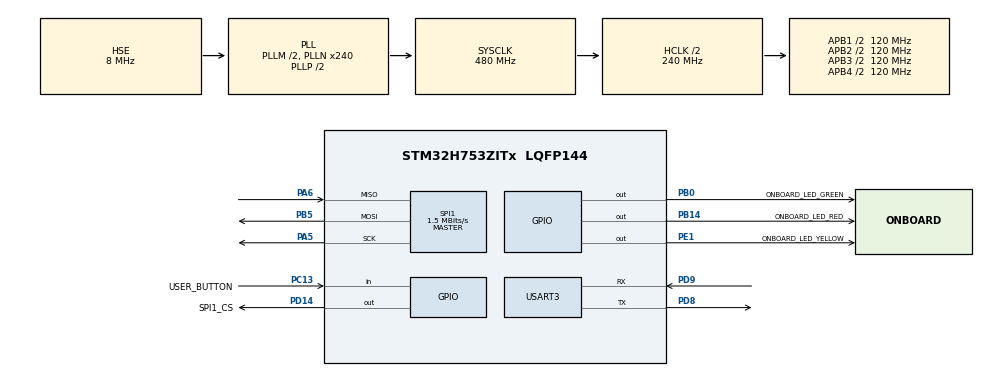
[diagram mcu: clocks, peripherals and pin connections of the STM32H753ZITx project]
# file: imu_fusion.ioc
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CORTEX_M7.default_mode_Activation=1
Mcu.Family=STM32H7
Mcu.Name=STM32H753ZITx
Mcu.Package=LQFP144
NVIC.PriorityGroup=NVIC_PRIORITYGROUP_4
NVIC.TIM6_DAC_IRQn=true\:0\:0\:false\:false\:true\:true\:true\:true
PA5.Mode=Full_Duplex_Master
PA5.Signal=SPI1_SCK
PA6.Mode=Full_Duplex_Master
PA6.Signal=SPI1_MISO
PB0.GPIO_Label=ONBOARD_LED_GREEN
PB0.Signal=GPIO_Output
PB14.GPIO_Label=ONBOARD_LED_RED
PB14.Signal=GPIO_Output
PB5.Mode=Full_Duplex_Master
PB5.Signal=SPI1_MOSI
PC13.GPIO_Label=USER_BUTTON
PC13.Signal=GPIO_Input
PD14.GPIO_Label=SPI1_CS
PD14.Signal=GPIO_Output
PD8.Mode=Asynchronous
PD8.Signal=USART3_TX
PD9.Mode=Asynchronous
PD9.Signal=USART3_RX
PE1.GPIO_Label=ONBOARD_LED_YELLOW
PE1.Signal=GPIO_Output
PH0-OSC_IN\ (PH0).Mode=HSE-External-Oscillator
PH0-OSC_IN\ (PH0).Signal=RCC_OSC_IN
PH1-OSC_OUT\ (PH1).Mode=HSE-External-Oscillator
PH1-OSC_OUT\ (PH1).Signal=RCC_OSC_OUT
ProjectManager.HeapSize=0x200
ProjectManager.StackSize=0x400
ProjectManager.TargetToolchain=CMake
RCC.ADCFreq_Value=16125000
RCC.APB1Freq_Value=120000000
RCC.APB2Freq_Value=120000000
RCC.APB3Freq_Value=120000000
RCC.APB4Freq_Value=120000000
RCC.CortexFreq_Value=480000000
RCC.D1PPRE=RCC_APB3_DIV2
RCC.D2PPRE1=RCC_APB1_DIV2
RCC.D2PPRE2=RCC_APB2_DIV2
RCC.D3PPRE=RCC_APB4_DIV2
RCC.DIVM1=2
RCC.DIVN1=240
RCC.DIVQ1=5
RCC.HCLKFreq_Value=240000000
RCC.HPRE=RCC_HCLK_DIV2
RCC.HSE_VALUE=8000000
RCC.PLLFRACN=0
RCC.PLLSourceVirtual=RCC_PLLSOURCE_HSE
RCC.SYSCLKFreq_VALUE=480000000
RCC.SYSCLKSource=RCC_SYSCLKSOURCE_PLLCLK
RCC.USBFreq_Value=192000000
SPI1.BaudRatePrescaler=SPI_BAUDRATEPRESCALER_128
SPI1.CalculateBaudRate=1.5 MBits/s
SPI1.DataSize=SPI_DATASIZE_8BIT
SPI1.Direction=SPI_DIRECTION_2LINES
SPI1.Mode=SPI_MODE_MASTER
SPI1.VirtualType=VM_MASTER
TIM6.Period=479
TIM6.Prescaler=1199
USART3.VirtualMode-Asynchronous=VM_ASYNC
VP_MEMORYMAP_VS_MEMORYMAP.Mode=CurAppReg
VP_TIM6_VS_ClockSourceINT.Mode=Enable_Timer
board=custom

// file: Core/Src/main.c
/* USER CODE BEGIN Header */
/**
  ******************************************************************************
  * @file           : main.c
  * @brief          : Main program body
  ******************************************************************************
  * @attention
  *
  * Copyright (c) 2025 STMicroelectronics.
  * All rights reserved.
  *
  * This software is licensed under terms that can be found in the LICENSE file
  * in the root directory of this software component.
  * If no LICENSE file comes with this software, it is provided AS-IS.
  *
  ******************************************************************************
  */
/* USER CODE END Header */
#include "main.h"

/* USER CODE BEGIN Includes */
#include <stdbool.h>
#include <stdint.h>
#include <stdio.h>
#include <string.h>
#include <math.h>
#include "lsm6dsox.h"
#include "stm32h7_spi_dev.h"
#include "cfilter.h"
/* USER CODE END Includes */

/* USER CODE BEGIN PD */
#define SAMPLE_COUNT 6000

/*
With 240 MHz timer clock and 479 period:

Prescaler | Timer Frequency | Sample Period |
---------------------------------------------
   149    |     3.333 kHz   |    300 µs     |
   299    |     1.666 kHz   |    600 µs     |
   599    |     833 Hz      |    1.2 ms     |
  1199    |     416 Hz      |    2.4 ms     |
  2399    |     208 Hz      |    4.8 ms     |
  4799    |     104 Hz      |    9.6 ms     |

*/
#define DT_IMU  0.0024  // IMU sample period in seconds
// #define DT_IMU  0.0003f  // IMU sample period in seconds (300 µs - 3.333 kHz)
/* USER CODE END PD */

SPI_HandleTypeDef hspi1;

TIM_HandleTypeDef htim6;

UART_HandleTypeDef huart3;

/* USER CODE BEGIN PV */
volatile bool imu_data_ready = false;

uint32_t loop_cycles = 0; // Count CPU cycles in main loop

stm32_spi_handle_t spi_handle;
lsm6dsox_dev_t dev;
lsm6dsox_data_t lsm6dsox_data;

// // Filtered attitude
// float quat[4] = {1.0f, 0.0f, 0.0f, 0.0f}; // Initial quaternion
// float rpy[3];

// Complementary filter structs
cfilter_arg_t cfilter_arg;
cfilter_res_t cfilter_res;
cfilter_work_t cfilter_w;
/* USER CODE END PV */

void SystemClock_Config(void);
static void MPU_Config(void);
static void MX_GPIO_Init(void);
static void MX_USART3_UART_Init(void);
static void MX_TIM6_Init(void);
static void MX_SPI1_Init(void);

int main(void)
{

  /* MPU Configuration--------------------------------------------------------*/
  MPU_Config();

  /* MCU Configuration--------------------------------------------------------*/

  /* Reset of all peripherals, Initializes the Flash interface and the Systick. */
  HAL_Init();

  /* Configure the system clock */
  SystemClock_Config();

  /* Initialize all configured peripherals */
  MX_GPIO_Init();
  MX_USART3_UART_Init();
  MX_TIM6_Init();
  MX_SPI1_Init();
  /* USER CODE BEGIN 2 */

  printf("\r\n");
  printf("========================================\r\n");
  printf("LSM6DSOX SPI Test - STM32H7\r\n");
  printf("========================================\r\n\r\n");

  // Configure SPI handle
  spi_handle.hspi = &hspi1;
  spi_handle.cs_port = SPI1_CS_GPIO_Port;
  spi_handle.cs_pin = SPI1_CS_Pin;

  stm32_spi_init(&spi_handle);

  // Configure IMU
  dev.handle = &spi_handle;
  dev.read = stm32_spi_read;
  dev.write = stm32_spi_write;
  dev.accel_odr = LSM6DSOX_RATE_416_HZ;
  dev.accel_range = LSM6DSOX_ACCEL_RANGE_8_G;
  dev.gyro_odr = LSM6DSOX_RATE_416_HZ;
  dev.gyro_range = LSM6DSOX_GYRO_RANGE_2000_DPS;

  int ret = lsm6dsox_init(&dev);

  // Initialize filter
  cfilter_init(&cfilter_arg, &cfilter_res, &cfilter_w);
  cfilter_arg.dt = DT_IMU;
  cfilter_arg.alpha = 0.98f;

  // Check gyro configuration
  uint8_t ctrl2;
  dev.read(dev.handle, LSM6DSOX_CTRL2_G, &ctrl2, 1);

  if (ret != 0)
  {
      printf("ERROR: LSM6DSOX initialization failed (%d)\r\n", ret);
      while (1);
  }
  else
  {
      printf("LSM6DSOX initialized successfully\r\n");
  }

  // Enable DWT cycle counter for profiling
  CoreDebug->DEMCR |= CoreDebug_DEMCR_TRCENA_Msk;
  DWT->CYCCNT = 0;
  DWT->CTRL |= DWT_CTRL_CYCCNTENA_Msk;

  // Start timer 6 for sampling
  if (HAL_TIM_Base_Start_IT(&htim6) != HAL_OK)
      Error_Handler();

  /* USER CODE END 2 */

  /* Infinite loop */
  /* USER CODE BEGIN WHILE */
  uint32_t sample_idx = 0;
  calibrate_imu(&dev, &lsm6dsox_data, 200);
  printf("Starting IMU filter test...\r\n");
  HAL_GPIO_WritePin(ONBOARD_LED_GREEN_GPIO_Port, ONBOARD_LED_GREEN_Pin, GPIO_PIN_SET);
  while (1)
  {
    // if (sample_idx >= SAMPLE_COUNT)
    //     break;
    /* USER CODE END WHILE */

    /* USER CODE BEGIN 3 */

    if (imu_data_ready) {
      // The read should go in the callback, but for timing demo this pulls
      // it out of the timed code
      lsm6dsox_read(&dev, &lsm6dsox_data);
      uint32_t start_cycles = DWT->CYCCNT; // Start cycle counter

      imu_callback();

      uint32_t end_cycles = DWT->CYCCNT;          // End cycle counter
      loop_cycles += (end_cycles - start_cycles); // Count cycles
      sample_idx++;

      if (sample_idx % 4 == 0){
        printf("Roll: %d  Pitch: %d  Yaw: %d\r\n",
                (int)(1000 * cfilter_res.att_fused.rpy[0]*57.3f),
                (int)(1000 * cfilter_res.att_fused.rpy[1]*57.3f),
                (int)(1000 * cfilter_res.att_fused.rpy[2]*57.3f));
      }
    }

  }

  printf("Average loop time: %d µs\r\n",
          (int)((loop_cycles / (float)sample_idx) / (SystemCoreClock / 1000000.0f)));

  HAL_GPIO_WritePin(ONBOARD_LED_GREEN_GPIO_Port, ONBOARD_LED_GREEN_Pin, GPIO_PIN_RESET);
  /* USER CODE END 3 */
}

void SystemClock_Config(void)
{
  RCC_OscInitTypeDef RCC_OscInitStruct = {0};
  RCC_ClkInitTypeDef RCC_ClkInitStruct = {0};

  /** Supply configuration update enable
  */
  HAL_PWREx_ConfigSupply(PWR_LDO_SUPPLY);

  /** Configure the main internal regulator output voltage
  */
  __HAL_PWR_VOLTAGESCALING_CONFIG(PWR_REGULATOR_VOLTAGE_SCALE0);

  while(!__HAL_PWR_GET_FLAG(PWR_FLAG_VOSRDY)) {}

  /** Initializes the RCC Oscillators according to the specified parameters
  * in the RCC_OscInitTypeDef structure.
  */
  RCC_OscInitStruct.OscillatorType = RCC_OSCILLATORTYPE_HSE;
  RCC_OscInitStruct.HSEState = RCC_HSE_ON;
  RCC_OscInitStruct.PLL.PLLState = RCC_PLL_ON;
  RCC_OscInitStruct.PLL.PLLSource = RCC_PLLSOURCE_HSE;
  RCC_OscInitStruct.PLL.PLLM = 2;
  RCC_OscInitStruct.PLL.PLLN = 240;
  RCC_OscInitStruct.PLL.PLLP = 2;
  RCC_OscInitStruct.PLL.PLLQ = 5;
  RCC_OscInitStruct.PLL.PLLR = 2;
  RCC_OscInitStruct.PLL.PLLRGE = RCC_PLL1VCIRANGE_2;
  RCC_OscInitStruct.PLL.PLLVCOSEL = RCC_PLL1VCOWIDE;
  RCC_OscInitStruct.PLL.PLLFRACN = 0;
  if (HAL_RCC_OscConfig(&RCC_OscInitStruct) != HAL_OK)
  {
    Error_Handler();
  }

  /** Initializes the CPU, AHB and APB buses clocks
  */
  RCC_ClkInitStruct.ClockType = RCC_CLOCKTYPE_HCLK|RCC_CLOCKTYPE_SYSCLK
                              |RCC_CLOCKTYPE_PCLK1|RCC_CLOCKTYPE_PCLK2
                              |RCC_CLOCKTYPE_D3PCLK1|RCC_CLOCKTYPE_D1PCLK1;
  RCC_ClkInitStruct.SYSCLKSource = RCC_SYSCLKSOURCE_PLLCLK;
  RCC_ClkInitStruct.SYSCLKDivider = RCC_SYSCLK_DIV1;
  RCC_ClkInitStruct.AHBCLKDivider = RCC_HCLK_DIV2;
  RCC_ClkInitStruct.APB3CLKDivider = RCC_APB3_DIV2;
  RCC_ClkInitStruct.APB1CLKDivider = RCC_APB1_DIV2;
  RCC_ClkInitStruct.APB2CLKDivider = RCC_APB2_DIV2;
  RCC_ClkInitStruct.APB4CLKDivider = RCC_APB4_DIV2;

  if (HAL_RCC_ClockConfig(&RCC_ClkInitStruct, FLASH_LATENCY_4) != HAL_OK)
  {
    Error_Handler();
  }
}

static void MX_SPI1_Init(void)
{

  /* SPI1 parameter configuration*/
  hspi1.Instance = SPI1;
  hspi1.Init.Mode = SPI_MODE_MASTER;
  hspi1.Init.Direction = SPI_DIRECTION_2LINES;
  hspi1.Init.DataSize = SPI_DATASIZE_8BIT;
  hspi1.Init.CLKPolarity = SPI_POLARITY_LOW;
  hspi1.Init.CLKPhase = SPI_PHASE_1EDGE;
  hspi1.Init.NSS = SPI_NSS_SOFT;
  hspi1.Init.BaudRatePrescaler = SPI_BAUDRATEPRESCALER_128;
  hspi1.Init.FirstBit = SPI_FIRSTBIT_MSB;
  hspi1.Init.TIMode = SPI_TIMODE_DISABLE;
  hspi1.Init.CRCCalculation = SPI_CRCCALCULATION_DISABLE;
  hspi1.Init.CRCPolynomial = 0x0;
  hspi1.Init.NSSPMode = SPI_NSS_PULSE_ENABLE;
  hspi1.Init.NSSPolarity = SPI_NSS_POLARITY_LOW;
  hspi1.Init.FifoThreshold = SPI_FIFO_THRESHOLD_01DATA;
  hspi1.Init.TxCRCInitializationPattern = SPI_CRC_INITIALIZATION_ALL_ZERO_PATTERN;
  hspi1.Init.RxCRCInitializationPattern = SPI_CRC_INITIALIZATION_ALL_ZERO_PATTERN;
  hspi1.Init.MasterSSIdleness = SPI_MASTER_SS_IDLENESS_00CYCLE;
  hspi1.Init.MasterInterDataIdleness = SPI_MASTER_INTERDATA_IDLENESS_00CYCLE;
  hspi1.Init.MasterReceiverAutoSusp = SPI_MASTER_RX_AUTOSUSP_DISABLE;
  hspi1.Init.MasterKeepIOState = SPI_MASTER_KEEP_IO_STATE_DISABLE;
  hspi1.Init.IOSwap = SPI_IO_SWAP_DISABLE;
  if (HAL_SPI_Init(&hspi1) != HAL_OK)
  {
    Error_Handler();
  }

}

static void MX_TIM6_Init(void)
{

  TIM_MasterConfigTypeDef sMasterConfig = {0};

  htim6.Instance = TIM6;
  htim6.Init.Prescaler = 1199;
  htim6.Init.CounterMode = TIM_COUNTERMODE_UP;
  htim6.Init.Period = 479;
  htim6.Init.AutoReloadPreload = TIM_AUTORELOAD_PRELOAD_DISABLE;
  if (HAL_TIM_Base_Init(&htim6) != HAL_OK)
  {
    Error_Handler();
  }
  sMasterConfig.MasterOutputTrigger = TIM_TRGO_RESET;
  sMasterConfig.MasterSlaveMode = TIM_MASTERSLAVEMODE_DISABLE;
  if (HAL_TIMEx_MasterConfigSynchronization(&htim6, &sMasterConfig) != HAL_OK)
  {
    Error_Handler();
  }

}

static void MX_USART3_UART_Init(void)
{

  huart3.Instance = USART3;
  huart3.Init.BaudRate = 115200;
  huart3.Init.WordLength = UART_WORDLENGTH_8B;
  huart3.Init.StopBits = UART_STOPBITS_1;
  huart3.Init.Parity = UART_PARITY_NONE;
  huart3.Init.Mode = UART_MODE_TX_RX;
  huart3.Init.HwFlowCtl = UART_HWCONTROL_NONE;
  huart3.Init.OverSampling = UART_OVERSAMPLING_16;
  huart3.Init.OneBitSampling = UART_ONE_BIT_SAMPLE_DISABLE;
  huart3.Init.ClockPrescaler = UART_PRESCALER_DIV1;
  huart3.AdvancedInit.AdvFeatureInit = UART_ADVFEATURE_NO_INIT;
  if (HAL_UART_Init(&huart3) != HAL_OK)
  {
    Error_Handler();
  }
  if (HAL_UARTEx_SetTxFifoThreshold(&huart3, UART_TXFIFO_THRESHOLD_1_8) != HAL_OK)
  {
    Error_Handler();
  }
  if (HAL_UARTEx_SetRxFifoThreshold(&huart3, UART_RXFIFO_THRESHOLD_1_8) != HAL_OK)
  {
    Error_Handler();
  }
  if (HAL_UARTEx_DisableFifoMode(&huart3) != HAL_OK)
  {
    Error_Handler();
  }

}

static void MX_GPIO_Init(void)
{
  GPIO_InitTypeDef GPIO_InitStruct = {0};

  /* GPIO Ports Clock Enable */
  __HAL_RCC_GPIOC_CLK_ENABLE();
  __HAL_RCC_GPIOH_CLK_ENABLE();
  __HAL_RCC_GPIOA_CLK_ENABLE();
  __HAL_RCC_GPIOB_CLK_ENABLE();
  __HAL_RCC_GPIOD_CLK_ENABLE();
  __HAL_RCC_GPIOE_CLK_ENABLE();

  /*Configure GPIO pin Output Level */
  HAL_GPIO_WritePin(GPIOB, ONBOARD_LED_GREEN_Pin|ONBOARD_LED_RED_Pin, GPIO_PIN_RESET);

  /*Configure GPIO pin Output Level */
  HAL_GPIO_WritePin(SPI1_CS_GPIO_Port, SPI1_CS_Pin, GPIO_PIN_RESET);

  /*Configure GPIO pin Output Level */
  HAL_GPIO_WritePin(ONBOARD_LED_YELLOW_GPIO_Port, ONBOARD_LED_YELLOW_Pin, GPIO_PIN_RESET);

  /*Configure GPIO pin : USER_BUTTON_Pin */
  GPIO_InitStruct.Pin = USER_BUTTON_Pin;
  GPIO_InitStruct.Mode = GPIO_MODE_INPUT;
  GPIO_InitStruct.Pull = GPIO_NOPULL;
  HAL_GPIO_Init(USER_BUTTON_GPIO_Port, &GPIO_InitStruct);

  /*Configure GPIO pins : ONBOARD_LED_GREEN_Pin ONBOARD_LED_RED_Pin */
  GPIO_InitStruct.Pin = ONBOARD_LED_GREEN_Pin|ONBOARD_LED_RED_Pin;
  GPIO_InitStruct.Mode = GPIO_MODE_OUTPUT_PP;
  GPIO_InitStruct.Pull = GPIO_NOPULL;
  GPIO_InitStruct.Speed = GPIO_SPEED_FREQ_LOW;
  HAL_GPIO_Init(GPIOB, &GPIO_InitStruct);

  /*Configure GPIO pin : SPI1_CS_Pin */
  GPIO_InitStruct.Pin = SPI1_CS_Pin;
  GPIO_InitStruct.Mode = GPIO_MODE_OUTPUT_PP;
  GPIO_InitStruct.Pull = GPIO_NOPULL;
  GPIO_InitStruct.Speed = GPIO_SPEED_FREQ_LOW;
  HAL_GPIO_Init(SPI1_CS_GPIO_Port, &GPIO_InitStruct);

  /*Configure GPIO pin : ONBOARD_LED_YELLOW_Pin */
  GPIO_InitStruct.Pin = ONBOARD_LED_YELLOW_Pin;
  GPIO_InitStruct.Mode = GPIO_MODE_OUTPUT_PP;
  GPIO_InitStruct.Pull = GPIO_NOPULL;
  GPIO_InitStruct.Speed = GPIO_SPEED_FREQ_LOW;
  HAL_GPIO_Init(ONBOARD_LED_YELLOW_GPIO_Port, &GPIO_InitStruct);

}

/* USER CODE BEGIN 4 */

/**
  * @brief  Redirect printf to UART
  */
int _write(int file, char *ptr, int len)
{
    HAL_UART_Transmit(&huart3, (uint8_t *)ptr, len, HAL_MAX_DELAY);
    return len;
}

void HAL_TIM_PeriodElapsedCallback(TIM_HandleTypeDef *htim) {
  if (htim == &htim6) {
    imu_data_ready = true;  // Signal main loop
  }
}

void imu_callback(void) {
  // The read should go in the callback, but for timing demo it's in main
  // lsm6dsox_read(&dev, &lsm6dsox_data);

  // // Update filter (alpha = 0.98)
  // // alpha = 0 → accel only, alpha = 1 → gyro only
  // // From profiling, these two take ~11 µs
  // cfilter(quat, lsm6dsox_data.gyro, lsm6dsox_data.accel, 0.98f, DT_IMU);
  // quaternion_to_euler(quat, rpy);

  for (int i=0; i<3; i++) {
      cfilter_arg.gyro[i] = lsm6dsox_data.gyro[i];
      cfilter_arg.accel[i] = lsm6dsox_data.accel[i];
  }
  cfilter_step(&cfilter_arg, &cfilter_res, &cfilter_w);
  cfilter_arg.att = cfilter_res.att_fused;

  imu_data_ready = false;
}

void calibrate_imu(lsm6dsox_dev_t *dev, lsm6dsox_data_t *data, int samples)
{
    float gyro_avg[3] = {0, 0, 0};
    float accel_avg[3] = {0, 0, 0};

    printf("Starting calibration (%d samples)...\r\n", samples);

    for (int i = 0; i < samples; i++) {
        lsm6dsox_read(dev, data);
        for (int j = 0; j < 3; j++) {
            gyro_avg[j] += data->gyro[j];
            accel_avg[j] += data->accel[j];
        }

        HAL_Delay(10);

        // Show progress every 25 samples
        if ((i + 1) % 25 == 0) {
            printf("  %d%%...\r\n", ((i + 1) * 100) / samples);
        }
    }

    // Calculate averages
    for (int j = 0; j < 3; j++) {
        gyro_avg[j] /= samples;
        accel_avg[j] /= samples;
    }

    // Store biases
    for (int j = 0; j < 3; j++) {
        dev->gyro_bias[j] = gyro_avg[j];
        dev->accel_bias[j] = accel_avg[j];
    }

    // Bias Z-axis to -1g (assuming IMU is level, Z points down)
    dev->accel_bias[2] += 1.0f;

    printf("Calibration complete!\r\n");
    printf("Gyro biases: X=%d Y=%d Z=%d mdps\r\n",
           (int)(1000*gyro_avg[0]*57.3f),
           (int)(1000*gyro_avg[1]*57.3f),
           (int)(1000*gyro_avg[2]*57.3f));
    printf("Accel biases: X=%d Y=%d Z=%d mg\r\n",
           (int)(1000*accel_avg[0]),
           (int)(1000*accel_avg[1]),
           (int)(1000*accel_avg[2]));
}

/* USER CODE END 4 */

 /* MPU Configuration */

void MPU_Config(void)
{
  MPU_Region_InitTypeDef MPU_InitStruct = {0};

  /* Disables the MPU */
  HAL_MPU_Disable();

  /** Initializes and configures the Region and the memory to be protected
  */
  MPU_InitStruct.Enable = MPU_REGION_ENABLE;
  MPU_InitStruct.Number = MPU_REGION_NUMBER0;
  MPU_InitStruct.BaseAddress = 0x0;
  MPU_InitStruct.Size = MPU_REGION_SIZE_4GB;
  MPU_InitStruct.SubRegionDisable = 0x87;
  MPU_InitStruct.TypeExtField = MPU_TEX_LEVEL0;
  MPU_InitStruct.AccessPermission = MPU_REGION_NO_ACCESS;
  MPU_InitStruct.DisableExec = MPU_INSTRUCTION_ACCESS_DISABLE;
  MPU_InitStruct.IsShareable = MPU_ACCESS_SHAREABLE;
  MPU_InitStruct.IsCacheable = MPU_ACCESS_NOT_CACHEABLE;
  MPU_InitStruct.IsBufferable = MPU_ACCESS_NOT_BUFFERABLE;

  HAL_MPU_ConfigRegion(&MPU_InitStruct);
  /* Enables the MPU */
  HAL_MPU_Enable(MPU_PRIVILEGED_DEFAULT);

}

void Error_Handler(void)
{
  __disable_irq();
  while (1)
  {
  }
}
